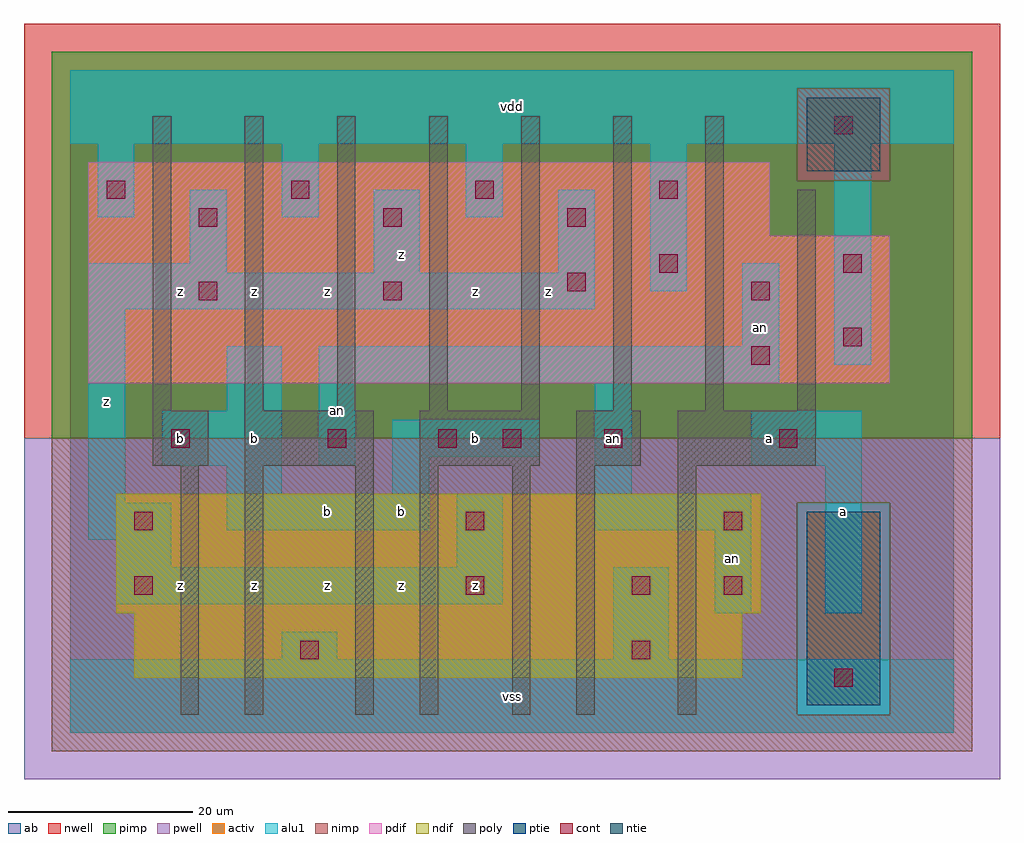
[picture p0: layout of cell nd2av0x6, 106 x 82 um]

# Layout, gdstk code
import gdstk
lib = gdstk.Library(unit=1e-6, precision=1e-09)
def R(c, l, rs):  # rectangles x0, y0, x1, y1
    for r in rs: c.add(gdstk.rectangle(r[:2], r[2:], *l))
def A(c, l, x, y, w, h, nx, ny, dx, dy):  # array of equal rectangles
    R(c, l, [(x+i*dx, y+j*dy, x+i*dx+w, y+j*dy+h) for i in range(nx) for j in range(ny)])
ndif = (3, 0)
pdif = (4, 0)
ntie = (5, 0)
ptie = (6, 0)
cont = (25, 0)
pwell = (41, 0)
nwell = (42, 0)
activ = (43, 0)
pimp = (44, 0)
nimp = (45, 0)
poly = (46, 0)
alu1 = (49, 0)
ab = (63, 0)

nd2av0x6 = lib.new_cell('nd2av0x6')
R(nd2av0x6, ndif, [(7,6,73,13), (5,13,75,26)])
R(nd2av0x6, pdif, [(2,38,89,54), (2,54,76,62)])
R(nd2av0x6, ntie, [(80,61,88,69)])
R(nd2av0x6, ptie, [(80,3,88,24)])
A(nd2av0x6, cont, 14, 55, 2, 2, 3, 1, 20, 0)
A(nd2av0x6, cont, 4, 58, 2, 2, 4, 1, 20, 0)
R(nd2av0x6, cont, [(83,5,85,7), (25,8,27,10), (61,8,63,10), (7,15,9,17), (43,15,45,17), (61,15,63,17), (71,15,73,17), (7,22,9,24), (43,22,45,24), (71,22,73,24), (11,31,13,33), (28,31,30,33), (40,31,42,33), (47,31,49,33), (58,31,60,33), (77,31,79,33), (74,40,76,42), (84,42,86,44), (14,47,16,49), (34,47,36,49), (74,47,76,49), (54,48,56,50), (64,50,66,52), (84,50,86,52), (83,65,85,67)])
R(nd2av0x6, pwell, [(-5,-5,101,32)])
R(nd2av0x6, nwell, [(-5,32,101,77)])
R(nd2av0x6, activ, [(80,3,88,24), (7,6,73,13), (5,13,75,26), (2,38,89,54), (2,54,76,62), (80,61,88,69)])
R(nd2av0x6, pimp, [(79,2,89,25), (-2,32,98,60), (-2,60,79,70), (89,60,98,70), (-2,70,98,74)])
R(nd2av0x6, nimp, [(-2,-2,98,2), (-2,2,79,25), (89,2,98,25), (-2,25,98,32), (79,60,89,70)])
A(nd2av0x6, poly, 9, 35, 2, 32, 7, 1, 10, 0)
R(nd2av0x6, poly, [(12,2,14,29), (19,2,21,29), (31,2,33,29), (38,2,40,29), (48,2,50,29), (55,2,57,29), (66,2,68,29), (9,29,15,35), (19,29,33,35), (38,29,51,35), (55,29,62,35), (66,29,81,35), (79,35,81,59)])
A(nd2av0x6, alu1, 3, 56, 4, 8, 3, 1, 20, 0)
R(nd2av0x6, alu1, [(0,0,96,8), (23,8,29,11), (59,8,65,18), (70,13,74,22), (82,13,86,29), (5,14,47,18), (5,18,11,21), (42,18,47,26), (2,21,11,25), (17,22,39,26), (57,22,74,26), (2,25,6,46), (17,26,23,29), (35,26,39,30), (57,26,61,38), (10,29,23,35), (27,29,31,38), (74,29,86,35), (35,30,51,34), (17,35,23,42), (27,38,77,42), (83,40,87,64), (73,42,77,51), (2,46,57,50), (63,48,67,64), (2,50,17,51), (33,50,38,59), (53,50,57,59), (13,51,17,59), (0,64,96,72)])
R(nd2av0x6, ab, [(0,0,96,72)])
nd2av0x6.add(gdstk.Label('an', (29,35), layer=49, texttype=0))
nd2av0x6.add(gdstk.Label('an', (59,32), layer=49, texttype=0))
nd2av0x6.add(gdstk.Label('an', (72,19), layer=49, texttype=0))
nd2av0x6.add(gdstk.Label('an', (75,44), layer=49, texttype=0))
nd2av0x6.add(gdstk.Label('z', (12,16), layer=49, texttype=0))
nd2av0x6.add(gdstk.Label('z', (20,16), layer=49, texttype=0))
nd2av0x6.add(gdstk.Label('b', (20,32), layer=49, texttype=0))
nd2av0x6.add(gdstk.Label('b', (12,32), layer=49, texttype=0))
nd2av0x6.add(gdstk.Label('z', (4,36), layer=49, texttype=0))
nd2av0x6.add(gdstk.Label('z', (20,48), layer=49, texttype=0))
nd2av0x6.add(gdstk.Label('z', (12,48), layer=49, texttype=0))
nd2av0x6.add(gdstk.Label('z', (28,16), layer=49, texttype=0))
nd2av0x6.add(gdstk.Label('z', (44,16), layer=49, texttype=0))
nd2av0x6.add(gdstk.Label('z', (36,16), layer=49, texttype=0))
nd2av0x6.add(gdstk.Label('b', (44,32), layer=49, texttype=0))
nd2av0x6.add(gdstk.Label('b', (36,24), layer=49, texttype=0))
nd2av0x6.add(gdstk.Label('b', (28,24), layer=49, texttype=0))
nd2av0x6.add(gdstk.Label('z', (36,52), layer=49, texttype=0))
nd2av0x6.add(gdstk.Label('z', (44,48), layer=49, texttype=0))
nd2av0x6.add(gdstk.Label('z', (28,48), layer=49, texttype=0))
nd2av0x6.add(gdstk.Label('vss', (48,4), layer=49, texttype=0))
nd2av0x6.add(gdstk.Label('z', (52,48), layer=49, texttype=0))
nd2av0x6.add(gdstk.Label('vdd', (48,68), layer=49, texttype=0))
nd2av0x6.add(gdstk.Label('a', (76,32), layer=49, texttype=0))
nd2av0x6.add(gdstk.Label('a', (84,24), layer=49, texttype=0))

lib.write_gds('nd2av0x6.gds')
